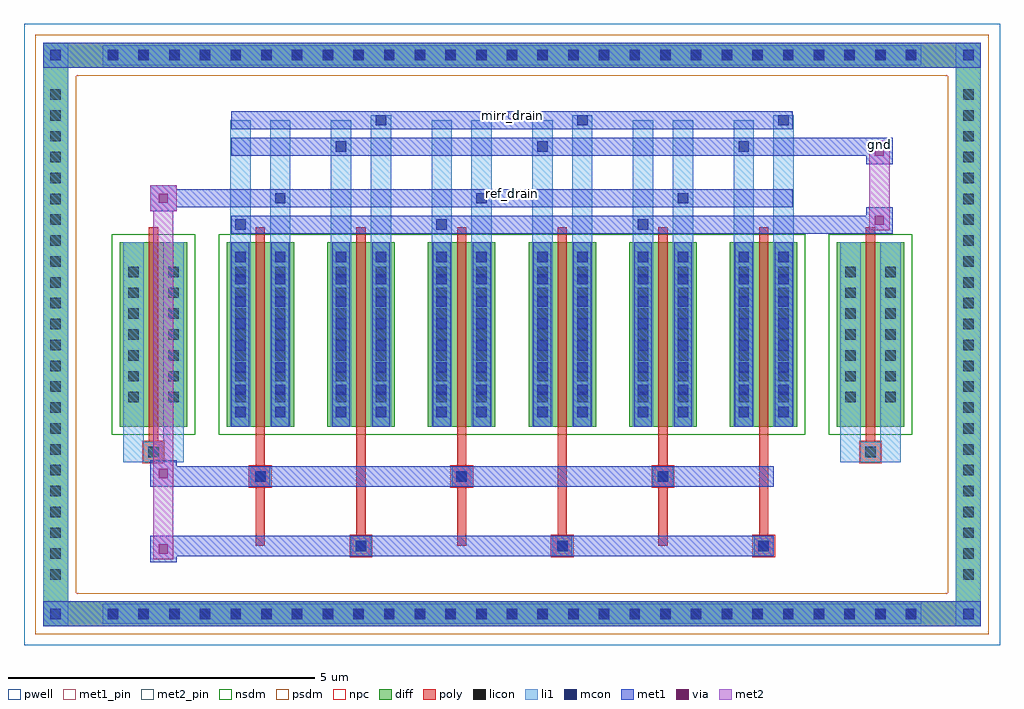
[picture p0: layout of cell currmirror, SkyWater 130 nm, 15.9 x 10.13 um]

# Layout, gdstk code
import gdstk
lib = gdstk.Library(unit=1e-6, precision=5e-09)
def R(c, l, rs):  # rectangles x0, y0, x1, y1
    for r in rs: c.add(gdstk.rectangle(r[:2], r[2:], *l))
def A(c, l, x, y, w, h, nx, ny, dx, dy):  # array of equal rectangles
    R(c, l, [(x+i*dx, y+j*dy, x+i*dx+w, y+j*dy+h) for i in range(nx) for j in range(ny)])
def P(c, l, *ps):  # polygons
    for p in ps: c.add(gdstk.Polygon(p, *l))
pwell = (64, 44)
diff = (65, 20)
poly = (66, 20)
licon = (66, 44)
li1 = (67, 20)
mcon = (67, 44)
met1_pin = (68, 16)
met1 = (68, 20)
via = (68, 44)
met2_pin = (69, 16)
met2 = (69, 20)
nsdm = (93, 44)
psdm = (94, 20)
npc = (95, 20)

currmirror = lib.new_cell('currmirror')
R(currmirror, pwell, [(-7.95,-5.065,7.95,5.065), (-6.7,-3.81,6.7,3.815)])
A(currmirror, diff, -6.705, -4.755, 0.41, 0.41, 27, 2, 0.5, 9.1)
A(currmirror, diff, -7.64, -4.115, 0.41, 0.41, 1, 24, 0, 0.34)
A(currmirror, diff, 7.23, -4.115, 0.41, 0.41, 1, 24, 0, 0.34)
A(currmirror, diff, -4.65, -1.5, 1.1, 3, 6, 1, 1.64, 0)
R(currmirror, diff, [(-6.705,-4.755,6.705,-4.345), (-7.64,-4.115,-7.23,4.115), (7.23,-4.115,7.64,4.115), (-6.39,-1.5,-5.29,1.5), (5.29,-1.5,6.39,1.5), (-6.705,4.345,6.705,4.755)])
P(currmirror, diff, [(7.64,4.755),(-7.64,4.755),(-7.64,-4.345),(-7.23,-4.345),(-7.23,4.345),(7.23,4.345),(7.23,-4.345),(-7.23,-4.345),(-7.64,-4.345),(-7.64,-4.755),(7.64,-4.755)])
A(currmirror, poly, -4.175, -3.445, 0.15, 1.695, 3, 1, 3.28, 0)
A(currmirror, poly, -2.535, -3.28, 0.15, 1.53, 3, 1, 3.28, 0)
A(currmirror, poly, -4.175, -2.15, 0.15, 0.4, 3, 1, 3.28, 0)
A(currmirror, poly, -4.175, -1.75, 0.15, 3.5, 6, 1, 1.64, 0)
R(currmirror, poly, [(-2.625,-3.61,-2.295,-3.28), (-2.625,-3.61,-2.295,-3.28), (0.655,-3.61,0.985,-3.28), (0.655,-3.61,0.985,-3.28), (3.935,-3.61,4.265,-3.28), (3.935,-3.61,4.265,-3.28), (-4.265,-2.48,-3.935,-2.15), (-4.265,-2.48,-3.935,-2.15), (-0.985,-2.48,-0.655,-2.15), (-0.985,-2.48,-0.655,-2.15), (2.295,-2.48,2.625,-2.15), (2.295,-2.48,2.625,-2.15), (-6.005,-2.08,-5.675,-1.75), (-6.005,-2.08,-5.675,-1.75), (5.675,-2.08,6.005,-1.75), (5.675,-2.08,6.005,-1.75), (-5.915,-1.75,-5.765,1.75), (5.765,-1.75,5.915,1.75)])
A(currmirror, licon, -6.585, -4.635, 0.17, 0.17, 27, 2, 0.5, 9.1)
A(currmirror, licon, -7.52, -3.995, 0.17, 0.17, 1, 24, 0, 0.34)
A(currmirror, licon, 7.35, -3.995, 0.17, 0.17, 1, 24, 0, 0.34)
A(currmirror, licon, -2.545, -3.53, 0.17, 0.17, 3, 1, 3.28, 0)
A(currmirror, licon, -4.185, -2.4, 0.17, 0.17, 3, 1, 3.28, 0)
A(currmirror, licon, -6.25, -1.105, 0.17, 0.17, 1, 7, 0, 0.34)
A(currmirror, licon, -5.6, -1.105, 0.17, 0.17, 1, 7, 0, 0.34)
A(currmirror, licon, -4.51, -1.105, 0.17, 0.17, 1, 7, 0, 0.34)
A(currmirror, licon, -3.86, -1.105, 0.17, 0.17, 1, 7, 0, 0.34)
A(currmirror, licon, -2.87, -1.105, 0.17, 0.17, 1, 7, 0, 0.34)
A(currmirror, licon, -2.22, -1.105, 0.17, 0.17, 1, 7, 0, 0.34)
A(currmirror, licon, -1.23, -1.105, 0.17, 0.17, 1, 7, 0, 0.34)
A(currmirror, licon, -0.58, -1.105, 0.17, 0.17, 1, 7, 0, 0.34)
A(currmirror, licon, 0.41, -1.105, 0.17, 0.17, 1, 7, 0, 0.34)
A(currmirror, licon, 1.06, -1.105, 0.17, 0.17, 1, 7, 0, 0.34)
A(currmirror, licon, 2.05, -1.105, 0.17, 0.17, 1, 7, 0, 0.34)
A(currmirror, licon, 2.7, -1.105, 0.17, 0.17, 1, 7, 0, 0.34)
A(currmirror, licon, 3.69, -1.105, 0.17, 0.17, 1, 7, 0, 0.34)
A(currmirror, licon, 4.34, -1.105, 0.17, 0.17, 1, 7, 0, 0.34)
A(currmirror, licon, 5.43, -1.105, 0.17, 0.17, 1, 7, 0, 0.34)
A(currmirror, licon, 6.08, -1.105, 0.17, 0.17, 1, 7, 0, 0.34)
R(currmirror, licon, [(-5.925,-2,-5.755,-1.83), (5.755,-2,5.925,-1.83)])
A(currmirror, li1, -6.665, -4.715, 0.33, 0.33, 27, 2, 0.5, 9.1)
A(currmirror, li1, -7.6, -4.075, 0.33, 0.33, 1, 24, 0, 0.34)
A(currmirror, li1, 7.27, -4.075, 0.33, 0.33, 1, 24, 0, 0.34)
A(currmirror, li1, -2.625, -3.61, 0.33, 0.33, 3, 1, 3.28, 0)
A(currmirror, li1, -4.265, -2.48, 0.33, 0.33, 3, 1, 3.28, 0)
A(currmirror, li1, -4.51, -1.345, 0.17, 0.17, 1, 8, 0, 0.36)
A(currmirror, li1, -3.86, -1.345, 0.17, 0.17, 1, 8, 0, 0.36)
A(currmirror, li1, -2.87, -1.345, 0.17, 0.17, 1, 8, 0, 0.36)
A(currmirror, li1, -2.22, -1.345, 0.17, 0.17, 1, 8, 0, 0.36)
A(currmirror, li1, -1.23, -1.345, 0.17, 0.17, 1, 8, 0, 0.36)
A(currmirror, li1, -0.58, -1.345, 0.17, 0.17, 1, 8, 0, 0.36)
A(currmirror, li1, 0.41, -1.345, 0.17, 0.17, 1, 8, 0, 0.36)
A(currmirror, li1, 1.06, -1.345, 0.17, 0.17, 1, 8, 0, 0.36)
A(currmirror, li1, 2.05, -1.345, 0.17, 0.17, 1, 8, 0, 0.36)
A(currmirror, li1, 2.7, -1.345, 0.17, 0.17, 1, 8, 0, 0.36)
A(currmirror, li1, 3.69, -1.345, 0.17, 0.17, 1, 8, 0, 0.36)
A(currmirror, li1, 4.34, -1.345, 0.17, 0.17, 1, 8, 0, 0.36)
A(currmirror, li1, -6.33, -1.185, 0.33, 0.33, 1, 7, 0, 0.34)
A(currmirror, li1, -5.68, -1.185, 0.33, 0.33, 1, 7, 0, 0.34)
A(currmirror, li1, -4.59, -1.185, 0.33, 0.33, 1, 7, 0, 0.34)
A(currmirror, li1, -3.94, -1.185, 0.33, 0.33, 1, 7, 0, 0.34)
A(currmirror, li1, -2.95, -1.185, 0.33, 0.33, 1, 7, 0, 0.34)
A(currmirror, li1, -2.3, -1.185, 0.33, 0.33, 1, 7, 0, 0.34)
A(currmirror, li1, -1.31, -1.185, 0.33, 0.33, 1, 7, 0, 0.34)
A(currmirror, li1, -0.66, -1.185, 0.33, 0.33, 1, 7, 0, 0.34)
A(currmirror, li1, 0.33, -1.185, 0.33, 0.33, 1, 7, 0, 0.34)
A(currmirror, li1, 0.98, -1.185, 0.33, 0.33, 1, 7, 0, 0.34)
A(currmirror, li1, 1.97, -1.185, 0.33, 0.33, 1, 7, 0, 0.34)
A(currmirror, li1, 2.62, -1.185, 0.33, 0.33, 1, 7, 0, 0.34)
A(currmirror, li1, 3.61, -1.185, 0.33, 0.33, 1, 7, 0, 0.34)
A(currmirror, li1, 4.26, -1.185, 0.33, 0.33, 1, 7, 0, 0.34)
A(currmirror, li1, 5.35, -1.185, 0.33, 0.33, 1, 7, 0, 0.34)
A(currmirror, li1, 6, -1.185, 0.33, 0.33, 1, 7, 0, 0.34)
A(currmirror, li1, -4.59, 1.5, 0.33, 0.375, 3, 1, 3.28, 0)
A(currmirror, li1, -3.94, 1.5, 0.33, 0.805, 3, 1, 3.28, 0)
A(currmirror, li1, -2.95, 1.5, 0.33, 1.645, 3, 1, 3.28, 0)
A(currmirror, li1, -2.3, 1.5, 0.33, 2.075, 3, 1, 3.28, 0)
A(currmirror, li1, -4.51, 1.705, 0.17, 0.17, 3, 1, 3.28, 0)
A(currmirror, li1, -3.86, 2.135, 0.17, 0.17, 3, 1, 3.28, 0)
A(currmirror, li1, -2.87, 2.975, 0.17, 0.17, 3, 1, 3.28, 0)
A(currmirror, li1, -2.22, 3.405, 0.17, 0.17, 3, 1, 3.28, 0)
R(currmirror, li1, [(-7.64,-4.755,-7.23,-4.345), (7.23,-4.755,7.64,-4.345), (-6.665,-4.715,6.665,-4.385), (-7.52,-4.635,-7.35,-4.465), (-7.52,-4.635,-7.35,-4.465), (7.35,-4.635,7.52,-4.465), (7.35,-4.635,7.52,-4.465), (-7.64,-4.345,-7.23,4.345), (7.23,-4.345,7.64,4.345), (-6.33,-2.08,-6.005,-1.75), (-6.33,-2.08,-6,-1.5), (-6.005,-2.08,-5.675,-1.75), (-5.68,-2.08,-5.35,-1.5), (-5.675,-2.08,-5.35,-1.75), (5.35,-2.08,5.675,-1.75), (5.35,-2.08,5.68,-1.5), (5.675,-2.08,6.005,-1.75), (6,-2.08,6.33,-1.5), (6.005,-2.08,6.33,-1.75), (-6.33,-1.5,-6,1.5), (-5.68,-1.5,-5.35,1.5), (-4.59,-1.5,-4.26,1.5), (-3.94,-1.5,-3.61,1.5), (-2.95,-1.5,-2.62,1.5), (-2.3,-1.5,-1.97,1.5), (-1.31,-1.5,-0.98,1.5), (-0.66,-1.5,-0.33,1.5), (0.33,-1.5,0.66,1.5), (0.98,-1.5,1.31,1.5), (1.97,-1.5,2.3,1.5), (2.62,-1.5,2.95,1.5), (3.61,-1.5,3.94,1.5), (4.26,-1.5,4.59,1.5), (5.35,-1.5,5.68,1.5), (6,-1.5,6.33,1.5), (-4.51,-1.345,-4.34,1.345), (-3.86,-1.345,-3.69,1.345), (-2.87,-1.345,-2.7,1.345), (-2.22,-1.345,-2.05,1.345), (-1.23,-1.345,-1.06,1.345), (-0.58,-1.345,-0.41,1.345), (0.41,-1.345,0.58,1.345), (1.06,-1.345,1.23,1.345), (2.05,-1.345,2.22,1.345), (2.7,-1.345,2.87,1.345), (3.69,-1.345,3.86,1.345), (4.34,-1.345,4.51,1.345), (-4.59,1.5,-4.26,3.49), (-3.94,1.5,-3.61,3.49), (-2.95,1.5,-2.62,3.49), (-2.3,1.5,-1.97,3.49), (-1.31,1.5,-0.98,3.49), (-0.66,1.5,-0.33,3.49), (0.33,1.5,0.66,3.49), (0.98,1.5,1.31,3.49), (1.97,1.5,2.3,3.49), (2.62,1.5,2.95,3.49), (3.61,1.5,3.94,3.49), (4.26,1.5,4.59,3.49), (-7.64,4.345,-7.23,4.755), (7.23,4.345,7.64,4.755), (-6.665,4.385,6.665,4.715), (-7.52,4.465,-7.35,4.635), (-7.52,4.465,-7.35,4.635), (7.35,4.465,7.52,4.635), (7.35,4.465,7.52,4.635)])
A(currmirror, mcon, -6.585, -4.635, 0.17, 0.17, 27, 2, 0.5, 9.1)
A(currmirror, mcon, -2.545, -3.53, 0.17, 0.17, 3, 1, 3.28, 0)
A(currmirror, mcon, -4.185, -2.4, 0.17, 0.17, 3, 1, 3.28, 0)
A(currmirror, mcon, -4.51, -1.345, 0.17, 0.17, 1, 8, 0, 0.36)
A(currmirror, mcon, -3.86, -1.345, 0.17, 0.17, 1, 8, 0, 0.36)
A(currmirror, mcon, -2.87, -1.345, 0.17, 0.17, 1, 8, 0, 0.36)
A(currmirror, mcon, -2.22, -1.345, 0.17, 0.17, 1, 8, 0, 0.36)
A(currmirror, mcon, -1.23, -1.345, 0.17, 0.17, 1, 8, 0, 0.36)
A(currmirror, mcon, -0.58, -1.345, 0.17, 0.17, 1, 8, 0, 0.36)
A(currmirror, mcon, 0.41, -1.345, 0.17, 0.17, 1, 8, 0, 0.36)
A(currmirror, mcon, 1.06, -1.345, 0.17, 0.17, 1, 8, 0, 0.36)
A(currmirror, mcon, 2.05, -1.345, 0.17, 0.17, 1, 8, 0, 0.36)
A(currmirror, mcon, 2.7, -1.345, 0.17, 0.17, 1, 8, 0, 0.36)
A(currmirror, mcon, 3.69, -1.345, 0.17, 0.17, 1, 8, 0, 0.36)
A(currmirror, mcon, 4.34, -1.345, 0.17, 0.17, 1, 8, 0, 0.36)
A(currmirror, mcon, -4.51, 1.705, 0.17, 0.17, 3, 1, 3.28, 0)
A(currmirror, mcon, -3.86, 2.135, 0.17, 0.17, 3, 1, 3.28, 0)
A(currmirror, mcon, -2.87, 2.975, 0.17, 0.17, 3, 1, 3.28, 0)
A(currmirror, mcon, -2.22, 3.405, 0.17, 0.17, 3, 1, 3.28, 0)
R(currmirror, mcon, [(-7.52,-4.635,-7.35,-4.465), (7.35,-4.635,7.52,-4.465), (-7.52,4.465,-7.35,4.635), (7.35,4.465,7.52,4.635)])
R(currmirror, met1_pin, [(-0.06,2.245,0.06,2.365), (-0.06,3.515,0.06,3.635)])
A(currmirror, met1, -6.645, -4.695, 0.29, 0.29, 27, 2, 0.5, 9.1)
A(currmirror, met1, -2.625, -3.61, 0.33, 0.33, 3, 1, 3.28, 0)
A(currmirror, met1, -2.605, -3.59, 0.29, 0.29, 3, 1, 3.28, 0)
A(currmirror, met1, -4.265, -2.48, 0.33, 0.33, 3, 1, 3.28, 0)
A(currmirror, met1, -4.245, -2.46, 0.29, 0.29, 3, 1, 3.28, 0)
A(currmirror, met1, -4.57, -1.405, 0.29, 0.29, 1, 8, 0, 0.36)
A(currmirror, met1, -3.92, -1.405, 0.29, 0.29, 1, 8, 0, 0.36)
A(currmirror, met1, -2.93, -1.405, 0.29, 0.29, 1, 8, 0, 0.36)
A(currmirror, met1, -2.28, -1.405, 0.29, 0.29, 1, 8, 0, 0.36)
A(currmirror, met1, -1.29, -1.405, 0.29, 0.29, 1, 8, 0, 0.36)
A(currmirror, met1, -0.64, -1.405, 0.29, 0.29, 1, 8, 0, 0.36)
A(currmirror, met1, 0.35, -1.405, 0.29, 0.29, 1, 8, 0, 0.36)
A(currmirror, met1, 1, -1.405, 0.29, 0.29, 1, 8, 0, 0.36)
A(currmirror, met1, 1.99, -1.405, 0.29, 0.29, 1, 8, 0, 0.36)
A(currmirror, met1, 2.64, -1.405, 0.29, 0.29, 1, 8, 0, 0.36)
A(currmirror, met1, 3.63, -1.405, 0.29, 0.29, 1, 8, 0, 0.36)
A(currmirror, met1, 4.28, -1.405, 0.29, 0.29, 1, 8, 0, 0.36)
A(currmirror, met1, -4.57, 1.645, 0.29, 0.29, 3, 1, 3.28, 0)
A(currmirror, met1, -4.57, 1.645, 0.94, 0.29, 3, 2, 3.28, 0.43)
A(currmirror, met1, -3.92, 2.075, 0.29, 0.29, 3, 1, 3.28, 0)
A(currmirror, met1, -2.93, 2.915, 0.29, 0.29, 3, 1, 3.28, 0)
A(currmirror, met1, -2.93, 2.915, 0.94, 0.29, 3, 2, 3.28, 0.43)
A(currmirror, met1, -2.28, 3.345, 0.29, 0.29, 3, 1, 3.28, 0)
R(currmirror, met1, [(-7.64,-4.755,-7.23,-4.345), (-7.64,-4.755,-7.23,-4.345), (-7.23,-4.755,7.23,-4.345), (7.23,-4.755,7.64,-4.345), (7.23,-4.755,7.64,-4.345), (-7.58,-4.695,-7.29,-4.405), (7.29,-4.695,7.58,-4.405), (-5.895,-3.71,-5.465,-3.28), (-5.895,-3.61,-4.265,-3.28), (-4.265,-3.61,4.265,-3.28), (-5.895,-2.48,-5.465,-2.05), (-5.895,-2.48,-4.265,-2.15), (-4.265,-2.48,4.265,-2.15), (-4.57,-1.5,-4.28,1.5), (-3.92,-1.5,-3.63,1.5), (-2.93,-1.5,-2.64,1.5), (-2.28,-1.5,-1.99,1.5), (-1.29,-1.5,-1,1.5), (-0.64,-1.5,-0.35,1.5), (0.35,-1.5,0.64,1.5), (1,-1.5,1.29,1.5), (1.99,-1.5,2.28,1.5), (2.64,-1.5,2.93,1.5), (3.63,-1.5,3.92,1.5), (4.28,-1.5,4.57,1.5), (-4.57,1.645,4.57,1.935), (4.57,1.645,6.2,1.935), (5.77,1.645,6.2,2.075), (-5.895,2.005,-5.465,2.435), (-5.845,2.075,-4.57,2.365), (-4.57,2.075,4.57,2.365), (5.77,2.775,6.2,3.205), (-4.57,2.915,4.57,3.205), (4.57,2.915,6.2,3.205), (-4.57,3.345,4.57,3.635), (-7.64,4.345,-7.23,4.755), (-7.64,4.345,-7.23,4.755), (-7.23,4.345,7.23,4.755), (7.23,4.345,7.64,4.755), (7.23,4.345,7.64,4.755), (-7.58,4.405,-7.29,4.695), (7.29,4.405,7.58,4.695)])
R(currmirror, via, [(-5.755,-3.57,-5.605,-3.42), (-5.755,-2.34,-5.605,-2.19), (5.91,1.785,6.06,1.935), (-5.755,2.145,-5.605,2.295), (5.91,2.915,6.06,3.065)])
R(currmirror, met2_pin, [(5.925,3.035,6.045,3.155)])
R(currmirror, met2, [(-5.845,-3.66,-5.515,-3.33), (-5.845,-3.66,-5.515,-2.1), (-5.845,-2.43,-5.515,-2.1), (-5.845,-2.1,-5.515,2.365), (5.82,1.695,6.15,2.025), (5.82,1.695,6.15,3.155), (-5.895,2.005,-5.465,2.435), (-5.845,2.055,-5.515,2.385), (5.82,2.825,6.15,3.155)])
P(currmirror, met2, [(6.15,1.695),(6.15,1.695),(6.15,2.025),(6.15,2.025)],
  [(6.15,2.825),(6.15,2.825),(6.15,3.155),(6.15,3.155)],
  [(-5.515,-3.66),(-5.515,-3.66),(-5.515,-3.33),(-5.515,-3.33)],
  [(-5.515,-2.43),(-5.515,-2.43),(-5.515,-2.1),(-5.515,-2.1)])
A(currmirror, nsdm, -4.78, -1.63, 1.36, 3.26, 6, 1, 1.64, 0)
R(currmirror, nsdm, [(-6.52,-1.63,-5.16,1.63), (-4.78,-1.63,4.78,1.63), (5.16,-1.63,6.52,1.63)])
P(currmirror, psdm, [(7.77,4.885),(-7.77,4.885),(-7.77,-4.215),(-7.1,-4.215),(-7.1,4.215),(7.1,4.215),(7.1,-4.215),(-7.1,-4.215),(-7.77,-4.215),(-7.77,-4.885),(7.77,-4.885)])
R(currmirror, npc, [(-2.645,-3.63,-2.275,-3.26), (-2.645,-3.63,-2.275,-3.26), (0.635,-3.63,1.005,-3.26), (0.635,-3.63,1.005,-3.26), (3.915,-3.63,4.285,-3.26), (-4.285,-2.5,-3.915,-2.13), (-1.005,-2.5,-0.635,-2.13), (-1.005,-2.5,-0.635,-2.13), (2.275,-2.5,2.645,-2.13), (2.275,-2.5,2.645,-2.13), (-6.025,-2.1,-5.655,-1.73), (5.655,-2.1,6.025,-1.73)])
currmirror.add(gdstk.Label('mirr_drain', (0,3.575), layer=68, texttype=5))
currmirror.add(gdstk.Label('ref_drain', (0,2.305), layer=68, texttype=5))
currmirror.add(gdstk.Label('gnd', (5.985,3.095), layer=69, texttype=5))

lib.write_gds('currmirror.gds')
